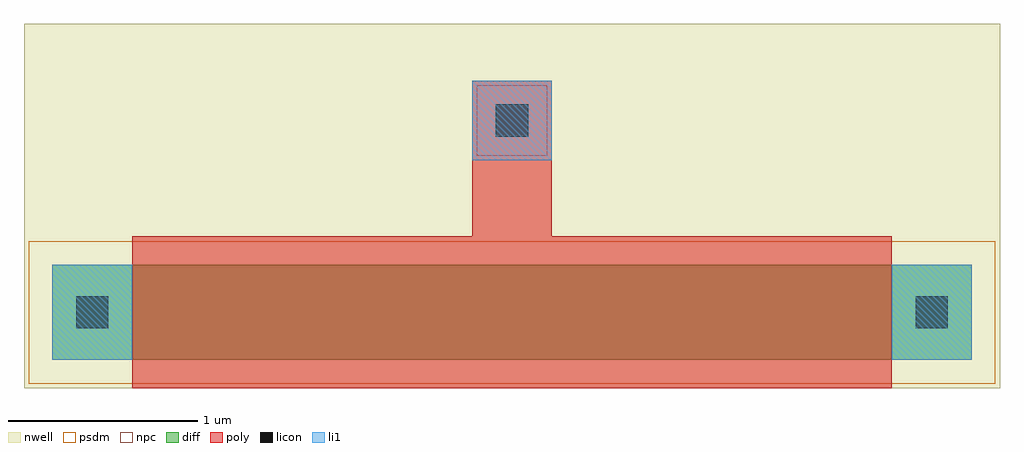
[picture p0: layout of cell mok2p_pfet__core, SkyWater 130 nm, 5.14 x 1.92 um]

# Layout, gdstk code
import gdstk
lib = gdstk.Library(unit=1e-6, precision=1e-09)
def R(c, l, rs):  # rectangles x0, y0, x1, y1
    for r in rs: c.add(gdstk.rectangle(r[:2], r[2:], *l))
nwell = (64, 20)
diff = (65, 20)
poly = (66, 20)
licon = (66, 44)
li1 = (67, 20)
psdm = (94, 20)
npc = (95, 20)

mok2p_pfet__core = lib.new_cell('mok2p_pfet__core')
R(mok2p_pfet__core, nwell, [(-0.15,-0.15,4.99,1.77)])
R(mok2p_pfet__core, diff, [(0,0,4.84,0.5)])
R(mok2p_pfet__core, poly, [(0.42,-0.15,4.42,0.5), (0.42,0.5,4.42,0.65), (0.42,0.5,4.42,0.65), (2.21,0.65,2.63,1.47)])
R(mok2p_pfet__core, licon, [(0.125,0.165,0.295,0.335), (4.545,0.165,4.715,0.335), (2.335,1.175,2.505,1.345)])
R(mok2p_pfet__core, li1, [(0,0,0.42,0.5), (4.42,0,4.84,0.5), (2.21,1.05,2.63,1.47)])
R(mok2p_pfet__core, psdm, [(-0.125,-0.125,4.965,0.625)])
R(mok2p_pfet__core, npc, [(2.235,1.075,2.605,1.445)])

lib.write_gds('mok2p_pfet__core.gds')
